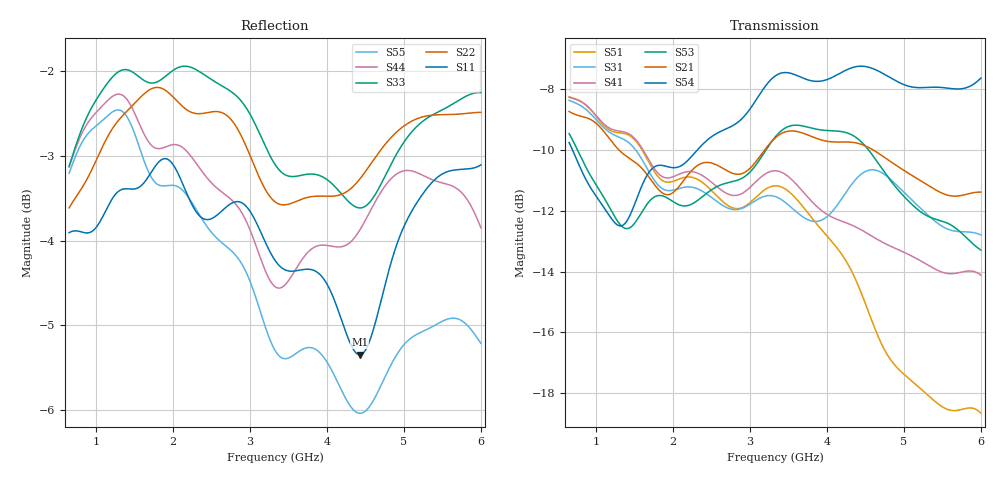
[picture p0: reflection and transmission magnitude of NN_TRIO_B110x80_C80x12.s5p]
! IGNION VIRTUAL ANTENNA LIBRARY
! NN_TRIO_B110x80_C80x12
! Virtual Antenna™ TRIO mXTEND™: NN03-310 30.0mm x 3.0mm x 1.0mm
! https://ignion.io/product/trio-mxtend/
! Board: 110mm x 80mm
! Clearance Area: 80mm x 12mm
! Feeding line: straight line; 9mm x 1mm
! Applications: Smartphone, Fleet management, IoT
! Frequency range 0.65GHz to 6GHz, step ~5MHz
! Number of ports 5
! This product and its use are protected by at least one or more of the following patents and
! patent applications PAT. US 2020/0176855 A1; WO 2019/008171 A1; and other domestic and international
! patents pending. Additional information about patents related to this product is available at
! https://ignion.io/files/Patent-list-NN.pdf, all rights reserved. Copyright, Ignion 2021.
! Need more help? Your platform is much different than these examples in the manual? Use our
! Fast Track service (https://ignion.io/fast-track/), for free, and get a personalized antenna design in
! just 24 hours.
! Touchstone port 1 = CST MWS port 1 ("Series Feeding Port 1")
! Touchstone port 2 = CST MWS port 2 ("Series in-Trio Port 1")
! Touchstone port 3 = CST MWS port 3 ("Series in-Trio Port 2")
! Touchstone port 4 = CST MWS port 4 ("Series Port in Feeding line of Port 2")
! Touchstone port 5 = CST MWS port 5 ("Series Feeding Port 2")
! CST MICROWAVE STUDIO 2019
# GHz S MA R 50
! Nport = 5
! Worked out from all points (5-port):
!   1001 points, 650 MHz to 6 GHz, reference 50 ohm
!   strongest paths, dB at 650 MHz, 1.988 GHz, 3.325 GHz, 4.662 GHz, 6 GHz:
!     S54: -9.8, -10.6, -7.6, -7.4, -7.6
!     S21: -8.7, -11.4, -9.6, -10.1, -11.4
!     S53: -9.5, -11.7, -9.6, -10.4, -13.3
!     S41: -8.3, -10.9, -10.7, -13.0, -14.1
!     S31: -8.4, -11.3, -11.5, -10.7, -12.8
!     S51: -8.3, -11.0, -11.2, -16.1, -18.7
!   lowest |S11| = -5.3 dB at 4.427 GHz (marker M1), VSWR 3.35, Z = 135 - j62.5 ohm
!   |S11| at or under -10 dB: nowhere
